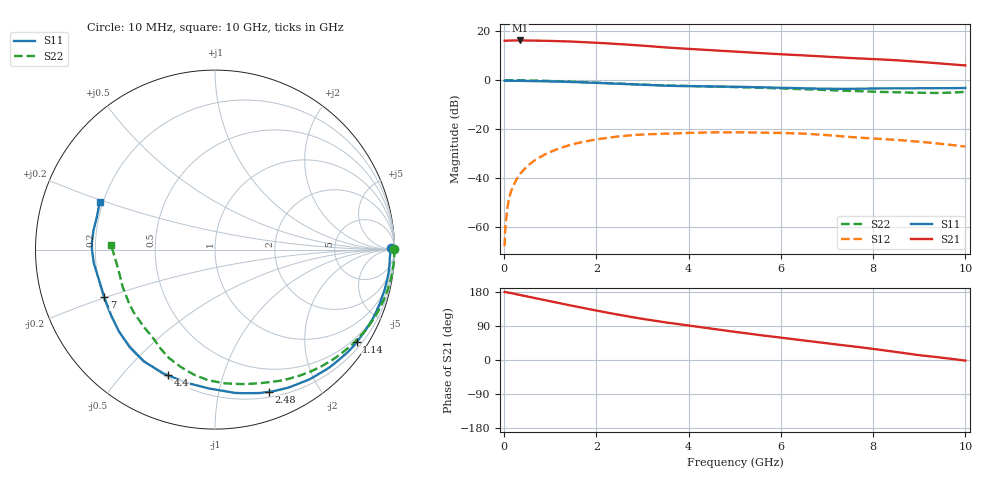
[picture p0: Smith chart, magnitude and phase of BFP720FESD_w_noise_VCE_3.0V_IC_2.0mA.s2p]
! Infineon Technologies  Discrete & RF Semiconductors
! BFP720FESD
! VCE =  3.0 V,  IC =  2.0 mA
! Common Emitter S-Parameters:  Jan 2016
# GHz  S  MA  R  50
!  f  S11  S21  S12  S22
! GHz  MAG  ANG  MAG  ANG  MAG  ANG  MAG  ANG
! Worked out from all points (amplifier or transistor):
!   233 points, 10 MHz to 10 GHz, reference 50 ohm
!   highest |S21| = 16.3 dB at 340 MHz (marker M1)
!   |S21| within 3 dB of that: start of sweep to 3.621 GHz
!   unconditionally stable (mu >= 1): 8.686 GHz to end of sweep
!   at 200 MHz: K = 0.00, MSG = 29.8 dB, |S12| = -43.2 dB
!   at 1.74 GHz: K = 0.11, MSG = 20.4 dB, |S12| = -25.1 dB
!   at 10 GHz: K = 1.58, MAG = 12.1 dB, |S12| = -27.2 dB
!   lowest NFmin = 0.41 dB at 450 MHz
!   S11 on the Smith chart (normalised r, x): 10 MHz: open; 1.14 GHz: 0.36, -3.32; 2.48 GHz: 0.25, -1.42; 4.4 GHz: 0.21, -0.67; 7 GHz: 0.20, -0.20; 10 GHz: 0.19, +0.19
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0.01  0.9824 0.5  6.493 179.5  0.0004 39.7  0.9962 0.3
0.02  0.9783 -0.5  6.447 179.7  0.0008 78.0  0.9991 -0.4
0.03  0.9776 -0.8  6.449 179.3  0.0011 80.9  0.9991 -0.6
0.07  0.9756 -1.9  6.47 178.3  0.0024 86.0  0.999 -1.5
0.11  0.9749 -3.2  6.499 177.6  0.0039 87.2  0.9991 -2.4
0.34  0.9733 -9.9  6.538 171.7  0.0118 82.8  0.9958 -7.4
0.7  0.9632 -20.4  6.498 162.7  0.0242 75.2  0.9843 -15.2
1.14  0.9425 -33.2  6.354 151.7  0.0386 65.6  0.9605 -24.9
1.4  0.9263 -40.7  6.24 144.9  0.0464 59.8  0.9425 -30.8
1.68  0.9075 -48.5  6.089 138.1  0.054 53.7  0.9206 -36.9
2.08  0.8779 -59.0  5.81 128.6  0.063 45.5  0.8883 -45.4
2.48  0.8477 -69.2  5.527 119.6  0.0707 37.8  0.8553 -53.7
2.98  0.8079 -81.4  5.136 108.8  0.0774 28.6  0.8156 -63.5
3.4  0.779 -90.2  4.786 101.2  0.0802 22.2  0.7892 -70.2
4.4  0.7476 -110.5  4.174 84.4  0.0853 9.5  0.75 -84.2
5.1  0.7339 -124.1  3.802 72.8  0.086 0.6  0.7235 -94.3
6  0.7034 -139.4  3.418 59.0  0.0836 -9.8  0.681 -106.3
6.8  0.6745 -153.3  3.113 47.0  0.0774 -18.5  0.6389 -116.6
7  0.6712 -156.9  3.043 43.8  0.0754 -20.7  0.6291 -118.9
8.4  0.6857 179.9  2.604 22.8  0.061 -27.2  0.5718 -142.6
9  0.6854 170.7  2.395 12.7  0.0552 -30.3  0.5549 -157.9
10  0.6957 157.4  2.017 -1.6  0.0439 -30.4  0.5791 177.7
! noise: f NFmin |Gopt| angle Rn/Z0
0.45  0.41  0.8  5  0.26
2.4  0.72  0.53  35  0.25
5.5  0.93  0.54  105  0.15
10  1.76  0.44  -167  0.09
